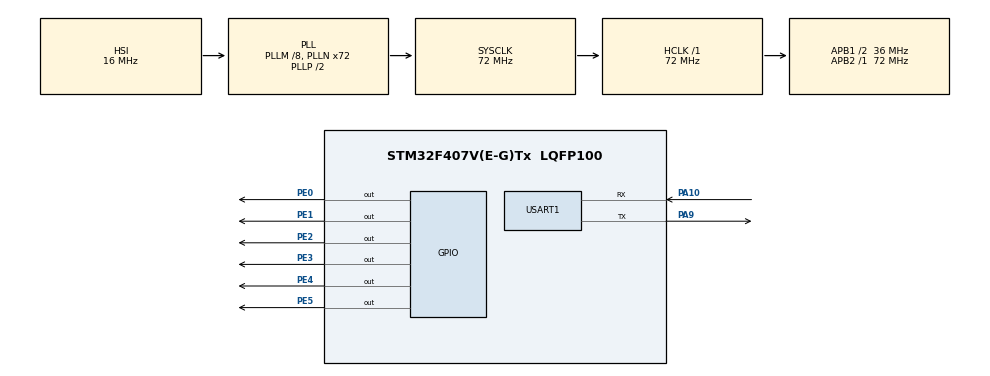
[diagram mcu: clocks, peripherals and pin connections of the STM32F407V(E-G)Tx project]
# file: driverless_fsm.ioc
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Mcu.Family=STM32F4
Mcu.Name=STM32F407V(E-G)Tx
Mcu.Package=LQFP100
NVIC.PriorityGroup=NVIC_PRIORITYGROUP_4
PA10.Mode=Asynchronous
PA10.Signal=USART1_RX
PA9.Mode=Asynchronous
PA9.Signal=USART1_TX
PE0.Signal=GPIO_Output
PE1.Signal=GPIO_Output
PE2.Signal=GPIO_Output
PE3.Signal=GPIO_Output
PE4.Signal=GPIO_Output
PE5.Signal=GPIO_Output
PH0-OSC_IN.Mode=HSE-External-Oscillator
PH0-OSC_IN.Signal=RCC_OSC_IN
PH1-OSC_OUT.Mode=HSE-External-Oscillator
PH1-OSC_OUT.Signal=RCC_OSC_OUT
ProjectManager.HeapSize=0x200
ProjectManager.StackSize=0x400
ProjectManager.TargetToolchain=STM32CubeIDE
RCC.48MHZClocksFreq_Value=36000000
RCC.AHBFreq_Value=72000000
RCC.APB1CLKDivider=RCC_HCLK_DIV2
RCC.APB1Freq_Value=36000000
RCC.APB1TimFreq_Value=72000000
RCC.APB2Freq_Value=72000000
RCC.APB2TimFreq_Value=72000000
RCC.CortexFreq_Value=72000000
RCC.HCLKFreq_Value=72000000
RCC.HSE_VALUE=25000000
RCC.HSI_VALUE=16000000
RCC.LSE_VALUE=32768
RCC.PLLM=8
RCC.PLLN=72
RCC.SYSCLKFreq_VALUE=72000000
RCC.SYSCLKSource=RCC_SYSCLKSOURCE_PLLCLK
RCC.VCOOutputFreq_Value=144000000
USART1.VirtualMode=VM_ASYNC
board=custom

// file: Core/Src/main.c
/* USER CODE BEGIN Header */
/**
  ******************************************************************************
  * @file           : main.c
  * @brief          : Main program body
  ******************************************************************************
  * @attention
  *
  * <h2><center>&copy; Copyright (c) 2021 STMicroelectronics.
  * All rights reserved.</center></h2>
  *
  * This software component is licensed by ST under BSD 3-Clause license,
  * the "License"; You may not use this file except in compliance with the
  * License. You may obtain a copy of the License at:
  *                        opensource.org/licenses/BSD-3-Clause
  *
  ******************************************************************************
  */
/* USER CODE END Header */
#include "main.h"

/* USER CODE BEGIN Includes */
#include <stdio.h>
#include <stdlib.h>
#include "LCD16x2.h"
#include "DWT_Delay.h"
#include "states.h"
/* USER CODE END Includes */

UART_HandleTypeDef huart1;

void SystemClock_Config(void);
static void MX_GPIO_Init(void);
static void MX_USART1_UART_Init(void);

/* USER CODE BEGIN 0 */
int __io_putchar(int ch) {
	ITM_SendChar(ch);
	return 0;
}
/* USER CODE END 0 */

int main(void)
{

  /* MCU Configuration--------------------------------------------------------*/

  /* Reset of all peripherals, Initializes the Flash interface and the Systick. */
  HAL_Init();

  /* Configure the system clock */
  SystemClock_Config();

  /* Initialize all configured peripherals */
  MX_GPIO_Init();
  MX_USART1_UART_Init();
  /* USER CODE BEGIN 2 */

  LCD_Init();
  LCD_Clear();
  LCD_Set_Cursor(1, 1);
  LCD_Write_String("Hello");
  LCD_Set_Cursor(2, 1);
  LCD_Write_String("World");
  /* USER CODE END 2 */

  /* Infinite loop */
  /* USER CODE BEGIN WHILE */
//  int counter = 0;
  while (1)
  {
    /* USER CODE END WHILE */

    /* USER CODE BEGIN 3 */
	//  run();

//	printf("looping\n");
	HAL_Delay(1000);
	//DWT_Delay_ms(1000);
	DWT_Delay_us(1000*1000);
  	LCD_SR();  HAL_Delay(450);
  	LCD_SR();  HAL_Delay(450);
  	LCD_SR();  HAL_Delay(450);
  	LCD_SR();  HAL_Delay(450);

  	LCD_SL();  HAL_Delay(450);
  	LCD_SL();  HAL_Delay(450);
  	LCD_SL();  HAL_Delay(450);
  	LCD_SL();  HAL_Delay(450);

  }
  /* USER CODE END 3 */
}

void SystemClock_Config(void)
{
  RCC_OscInitTypeDef RCC_OscInitStruct = {0};
  RCC_ClkInitTypeDef RCC_ClkInitStruct = {0};

  /** Configure the main internal regulator output voltage
  */
  __HAL_RCC_PWR_CLK_ENABLE();
  __HAL_PWR_VOLTAGESCALING_CONFIG(PWR_REGULATOR_VOLTAGE_SCALE1);
  /** Initializes the RCC Oscillators according to the specified parameters
  * in the RCC_OscInitTypeDef structure.
  */
  RCC_OscInitStruct.OscillatorType = RCC_OSCILLATORTYPE_HSI;
  RCC_OscInitStruct.HSIState = RCC_HSI_ON;
  RCC_OscInitStruct.HSICalibrationValue = RCC_HSICALIBRATION_DEFAULT;
  RCC_OscInitStruct.PLL.PLLState = RCC_PLL_ON;
  RCC_OscInitStruct.PLL.PLLSource = RCC_PLLSOURCE_HSI;
  RCC_OscInitStruct.PLL.PLLM = 8;
  RCC_OscInitStruct.PLL.PLLN = 72;
  RCC_OscInitStruct.PLL.PLLP = RCC_PLLP_DIV2;
  RCC_OscInitStruct.PLL.PLLQ = 4;
  if (HAL_RCC_OscConfig(&RCC_OscInitStruct) != HAL_OK)
  {
    Error_Handler();
  }
  /** Initializes the CPU, AHB and APB buses clocks
  */
  RCC_ClkInitStruct.ClockType = RCC_CLOCKTYPE_HCLK|RCC_CLOCKTYPE_SYSCLK
                              |RCC_CLOCKTYPE_PCLK1|RCC_CLOCKTYPE_PCLK2;
  RCC_ClkInitStruct.SYSCLKSource = RCC_SYSCLKSOURCE_PLLCLK;
  RCC_ClkInitStruct.AHBCLKDivider = RCC_SYSCLK_DIV1;
  RCC_ClkInitStruct.APB1CLKDivider = RCC_HCLK_DIV2;
  RCC_ClkInitStruct.APB2CLKDivider = RCC_HCLK_DIV1;

  if (HAL_RCC_ClockConfig(&RCC_ClkInitStruct, FLASH_LATENCY_2) != HAL_OK)
  {
    Error_Handler();
  }
}

static void MX_USART1_UART_Init(void)
{

  huart1.Instance = USART1;
  huart1.Init.BaudRate = 115200;
  huart1.Init.WordLength = UART_WORDLENGTH_8B;
  huart1.Init.StopBits = UART_STOPBITS_1;
  huart1.Init.Parity = UART_PARITY_NONE;
  huart1.Init.Mode = UART_MODE_TX_RX;
  huart1.Init.HwFlowCtl = UART_HWCONTROL_NONE;
  huart1.Init.OverSampling = UART_OVERSAMPLING_16;
  if (HAL_UART_Init(&huart1) != HAL_OK)
  {
    Error_Handler();
  }

}

static void MX_GPIO_Init(void)
{
  GPIO_InitTypeDef GPIO_InitStruct = {0};

  /* GPIO Ports Clock Enable */
  __HAL_RCC_GPIOE_CLK_ENABLE();
  __HAL_RCC_GPIOH_CLK_ENABLE();
  __HAL_RCC_GPIOA_CLK_ENABLE();

  /*Configure GPIO pin Output Level */
  HAL_GPIO_WritePin(GPIOE, GPIO_PIN_2|GPIO_PIN_3|GPIO_PIN_4|GPIO_PIN_5
                          |GPIO_PIN_0|GPIO_PIN_1, GPIO_PIN_RESET);

  /*Configure GPIO pins : PE2 PE3 PE4 PE5
                           PE0 PE1 */
  GPIO_InitStruct.Pin = GPIO_PIN_2|GPIO_PIN_3|GPIO_PIN_4|GPIO_PIN_5
                          |GPIO_PIN_0|GPIO_PIN_1;
  GPIO_InitStruct.Mode = GPIO_MODE_OUTPUT_PP;
  GPIO_InitStruct.Pull = GPIO_NOPULL;
  GPIO_InitStruct.Speed = GPIO_SPEED_FREQ_LOW;
  HAL_GPIO_Init(GPIOE, &GPIO_InitStruct);

}

void Error_Handler(void)
{
  __disable_irq();
  while (1)
  {
  }
}

/************************ (C) COPYRIGHT STMicroelectronics *****END OF FILE****/
